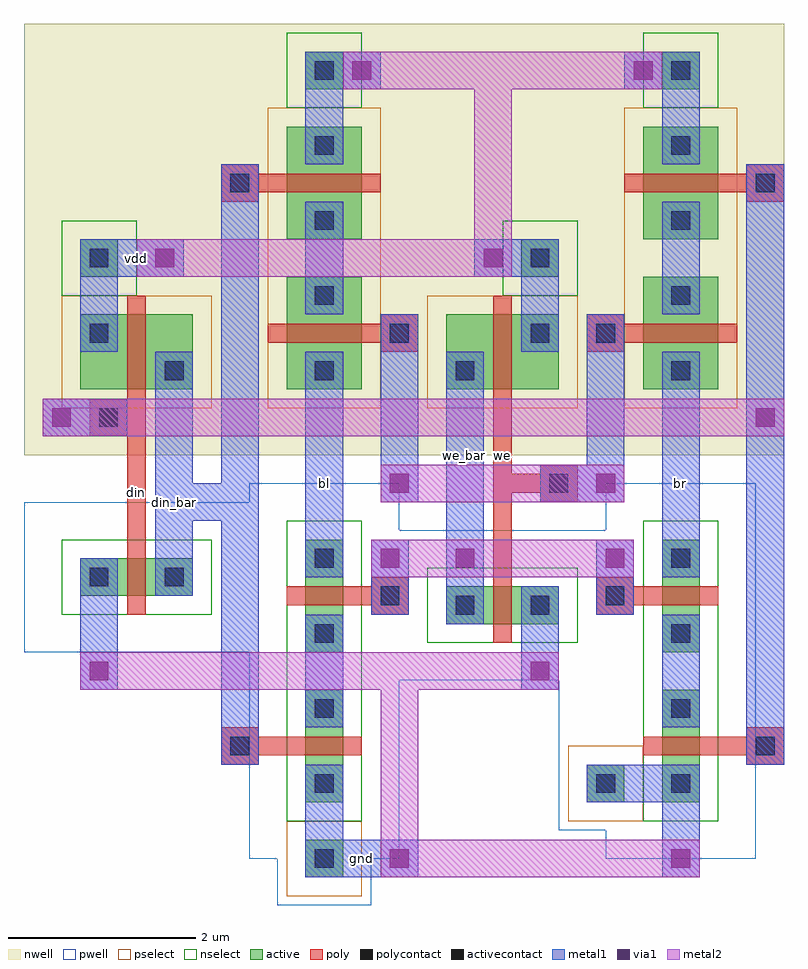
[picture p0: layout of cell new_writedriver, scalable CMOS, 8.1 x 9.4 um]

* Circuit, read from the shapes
.subckt new_writedriver bl br din din_bar gnd vdd we we_bar
M1 din_bar din gnd gnd nfet w=0.4u l=0.2u
M2 n1 din_bar gnd gnd nfet w=0.4u l=0.2u
M3 bl we_bar n1 gnd nfet w=0.4u l=0.2u
M4 gnd we we_bar gnd nfet w=0.4u l=0.2u
M5 n2 din gnd gnd nfet w=0.4u l=0.2u
M6 br we_bar n2 gnd nfet w=0.4u l=0.2u
M7 din_bar din vdd vdd pfet w=0.8u l=0.2u
M8 n3 we bl vdd pfet w=0.8u l=0.2u
M9 vdd din_bar n3 vdd pfet w=0.8u l=0.2u
M10 vdd we we_bar vdd pfet w=0.8u l=0.2u
M11 n4 we br vdd pfet w=0.8u l=0.2u
M12 vdd din n4 vdd pfet w=0.8u l=0.2u
.ends

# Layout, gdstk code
import gdstk
lib = gdstk.Library(unit=1e-6, precision=1e-09)
def R(c, l, rs):  # rectangles x0, y0, x1, y1
    for r in rs: c.add(gdstk.rectangle(r[:2], r[2:], *l))
def A(c, l, x, y, w, h, nx, ny, dx, dy):  # array of equal rectangles
    R(c, l, [(x+i*dx, y+j*dy, x+i*dx+w, y+j*dy+h) for i in range(nx) for j in range(ny)])
pwell = (41, 0)
nwell = (42, 0)
active = (43, 0)
pselect = (44, 0)
nselect = (45, 0)
poly = (46, 0)
polycontact = (47, 0)
activecontact = (48, 0)
metal1 = (49, 0)
via1 = (50, 0)
metal2 = (51, 0)

new_writedriver = lib.new_cell('new_writedriver')
R(new_writedriver, pwell, [(2.8,-7.2,3.8,-6.7), (2.5,-6.7,4.1,-4.8), (6.3,-6.7,7.9,-6.4), (5.8,-6.4,7.9,-4.8), (2.5,-4.8,7.9,-4.5), (0.1,-4.5,7.9,-3.2), (0.1,-3.2,4.1,-2.9), (6.3,-3.2,7.9,-2.7), (2.5,-2.9,4.1,-2.7)])
R(new_writedriver, nwell, [(0.1,-2.4,8.2,2.2)])
R(new_writedriver, active, [(3.1,-6.9,3.5,-6.5), (3.1,-6.1,3.5,-4.9), (6.1,-6.1,6.5,-5.7), (6.9,-6.1,7.3,-4.9), (3.1,-4.5,3.5,-3.3), (6.9,-4.5,7.3,-3.3), (4.6,-4.2,5.8,-3.8), (0.7,-3.9,1.9,-3.5), (0.7,-1.7,1.9,-0.9), (2.9,-1.7,3.7,-0.5), (4.6,-1.7,5.8,-0.9), (6.7,-1.7,7.5,-0.5), (0.7,-0.5,1.1,-0.1), (5.4,-0.5,5.8,-0.1), (2.9,-0.1,3.7,1.1), (6.7,-0.1,7.5,1.1), (3.1,1.5,3.5,1.9), (6.9,1.5,7.3,1.9)])
R(new_writedriver, pselect, [(2.9,-7.1,3.7,-6.3), (5.9,-6.3,6.7,-5.5), (0.5,-1.9,2.1,-0.7), (2.7,-1.9,3.9,1.3), (4.4,-1.9,6,-0.7), (6.5,-1.9,7.7,1.3)])
R(new_writedriver, nselect, [(2.9,-6.3,3.7,-3.1), (6.7,-6.3,7.5,-3.1), (4.4,-4.4,6,-3.6), (0.5,-4.1,2.1,-3.3), (0.5,-0.7,1.3,0.1), (5.2,-0.7,6,0.1), (2.9,1.3,3.7,2.1), (6.7,1.3,7.5,2.1)])
R(new_writedriver, poly, [(2.2,-5.7,2.6,-5.6), (7.8,-5.7,8.2,-5.6), (2.2,-5.6,3.7,-5.4), (6.7,-5.6,8.2,-5.4), (2.2,-5.4,2.6,-5.3), (7.8,-5.4,8.2,-5.3), (5.1,-4.4,5.3,-2.8), (1.2,-4.1,1.4,-2.2), (3.8,-4.1,4.2,-4), (6.2,-4.1,6.6,-4), (2.9,-4,4.2,-3.8), (6.2,-4,7.5,-3.8), (3.8,-3.8,4.2,-3.7), (6.2,-3.8,6.6,-3.7), (5.6,-2.9,6,-2.8), (5.1,-2.8,6,-2.6), (5.1,-2.6,5.3,-0.7), (5.6,-2.6,6,-2.5), (0.8,-2.2,1.4,-1.8), (1.2,-1.8,1.4,-0.7), (3.9,-1.3,4.3,-1.2), (6.1,-1.3,6.5,-1.2), (2.7,-1.2,4.3,-1), (6.1,-1.2,7.7,-1), (3.9,-1,4.3,-0.9), (6.1,-1,6.5,-0.9), (2.2,0.3,2.6,0.4), (7.8,0.3,8.2,0.4), (2.2,0.4,3.9,0.6), (6.5,0.4,8.2,0.6), (2.2,0.6,2.6,0.7), (7.8,0.6,8.2,0.7)])
R(new_writedriver, polycontact, [(2.3,-5.6,2.5,-5.4), (7.9,-5.6,8.1,-5.4), (3.9,-4,4.1,-3.8), (6.3,-4,6.5,-3.8), (5.7,-2.8,5.9,-2.6), (0.9,-2.1,1.1,-1.9), (4,-1.2,4.2,-1), (6.2,-1.2,6.4,-1), (2.3,0.4,2.5,0.6), (7.9,0.4,8.1,0.6)])
A(new_writedriver, activecontact, 3.2, -6.8, 0.2, 0.2, 1, 5, 0, 0.8)
A(new_writedriver, activecontact, 7, -6, 0.2, 0.2, 1, 4, 0, 0.8)
A(new_writedriver, activecontact, 3.2, -1.6, 0.2, 0.2, 1, 5, 0, 0.8)
A(new_writedriver, activecontact, 7, -1.6, 0.2, 0.2, 1, 5, 0, 0.8)
R(new_writedriver, activecontact, [(6.2,-6,6.4,-5.8), (4.7,-4.1,4.9,-3.9), (5.5,-4.1,5.7,-3.9), (0.8,-3.8,1,-3.6), (1.6,-3.8,1.8,-3.6), (1.6,-1.6,1.8,-1.4), (4.7,-1.6,4.9,-1.4), (0.8,-1.2,1,-1), (5.5,-1.2,5.7,-1), (0.8,-0.4,1,-0.2), (5.5,-0.4,5.7,-0.2)])
R(new_writedriver, metal1, [(3.1,-6.9,4.3,-6.5), (6.9,-6.9,7.3,-6.1), (3.1,-6.5,3.5,-5.7), (6.1,-6.1,7.3,-5.7), (2.2,-5.7,2.6,-3.1), (7.8,-5.7,8.2,0.7), (3.1,-5.3,3.5,-4.1), (6.9,-5.3,7.3,-4.1), (0.7,-4.9,1.1,-3.5), (5.4,-4.9,5.8,-3.8), (4.6,-4.2,5,-1.3), (3.8,-4.1,4.2,-3.3), (6.2,-4.1,6.6,-3.3), (1.5,-3.9,1.9,-3.1), (3.1,-3.7,3.5,-1.3), (6.9,-3.7,7.3,-1.3), (1.5,-3.1,2.6,-2.7), (3.9,-2.9,4.3,-0.9), (5.6,-2.9,6.5,-2.5), (1.5,-2.7,1.9,-1.3), (2.2,-2.7,2.6,0.7), (6.1,-2.5,6.5,-0.9), (0.3,-2.2,1.2,-1.8), (0.7,-1.3,1.1,-0.5), (5.4,-1.3,5.8,-0.5), (3.1,-0.9,3.5,0.3), (6.9,-0.9,7.3,0.3), (0.7,-0.5,1.8,-0.1), (4.9,-0.5,5.8,-0.1), (3.1,0.7,3.5,1.5), (6.9,0.7,7.3,1.5), (3.1,1.5,3.9,1.9), (6.5,1.5,7.3,1.9)])
R(new_writedriver, via1, [(4,-6.8,4.2,-6.6), (7,-6.8,7.2,-6.6), (0.8,-4.8,1,-4.6), (5.5,-4.8,5.7,-4.6), (3.9,-3.6,4.1,-3.4), (4.7,-3.6,4.9,-3.4), (6.3,-3.6,6.5,-3.4), (4,-2.8,4.2,-2.6), (6.2,-2.8,6.4,-2.6), (0.4,-2.1,0.6,-1.9), (7.9,-2.1,8.1,-1.9), (1.5,-0.4,1.7,-0.2), (5,-0.4,5.2,-0.2), (3.6,1.6,3.8,1.8), (6.6,1.6,6.8,1.8)])
R(new_writedriver, metal2, [(3.9,-6.9,7.3,-6.5), (3.9,-6.5,4.3,-4.9), (0.7,-4.9,5.8,-4.5), (3.8,-3.7,6.6,-3.3), (3.9,-2.9,6.5,-2.5), (0.3,-2.2,8.2,-1.8), (1.3,-0.5,5.3,-0.1), (4.9,-0.1,5.3,1.5), (3.5,1.5,6.9,1.9)])
new_writedriver.add(gdstk.Label('vdd', (1.3,-0.3), layer=49, texttype=0))
new_writedriver.add(gdstk.Label('br', (7.1,-2.7), layer=49, texttype=0))
new_writedriver.add(gdstk.Label('bl', (3.3,-2.7), layer=49, texttype=0))
new_writedriver.add(gdstk.Label('din', (1.3,-2.8), layer=46, texttype=0))
new_writedriver.add(gdstk.Label('din_bar', (1.7,-2.9), layer=49, texttype=0))
new_writedriver.add(gdstk.Label('we_bar', (4.8,-2.4), layer=49, texttype=0))
new_writedriver.add(gdstk.Label('we', (5.2,-2.4), layer=46, texttype=0))
new_writedriver.add(gdstk.Label('gnd', (3.7,-6.7), layer=49, texttype=0))

lib.write_gds('new_writedriver.gds')
